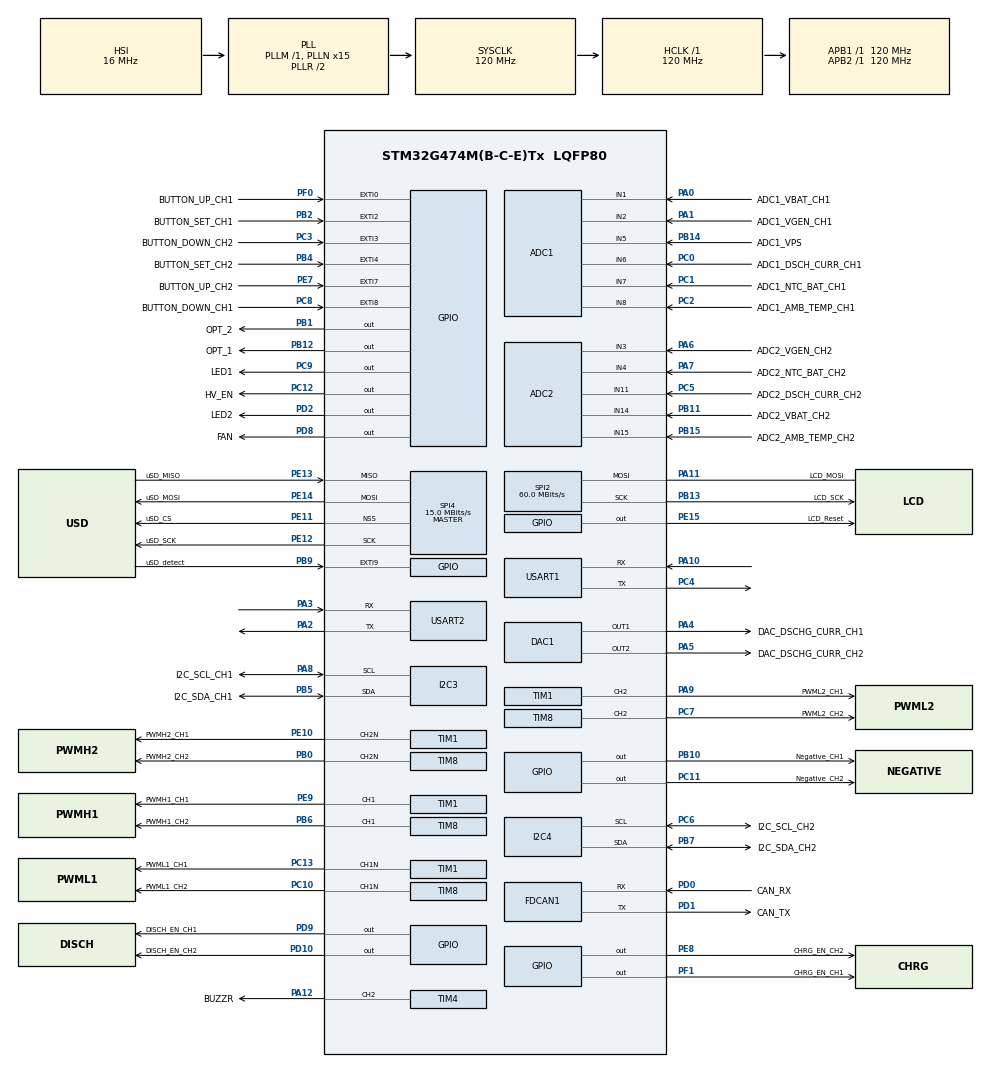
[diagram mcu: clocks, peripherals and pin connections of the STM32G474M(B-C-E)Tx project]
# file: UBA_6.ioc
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ADC1.Channel-10\#ChannelRegularConversion=ADC_CHANNEL_1
ADC1.Channel-11\#ChannelRegularConversion=ADC_CHANNEL_2
ADC1.Channel-12\#ChannelRegularConversion=ADC_CHANNEL_8
ADC1.Channel-13\#ChannelRegularConversion=ADC_CHANNEL_7
ADC1.Channel-14\#ChannelRegularConversion=ADC_CHANNEL_6
ADC1.Channel-15\#ChannelRegularConversion=ADC_CHANNEL_1
ADC1.Channel-16\#ChannelRegularConversion=ADC_CHANNEL_1
ADC1.ClockPrescaler=ADC_CLOCK_SYNC_PCLK_DIV4
ADC1.ContinuousConvMode=ENABLE
ADC1.DMAContinuousRequests=DISABLE
ADC1.EOCSelection=ADC_EOC_SEQ_CONV
ADC1.EnableInjectedConversion=DISABLE
ADC1.EnableRegularConversion=ENABLE
ADC1.GainCompensation=0
ADC1.NbrOfConversion=7
ADC1.NbrOfConversionFlag=1
ADC1.OffsetNumber-10\#ChannelRegularConversion=ADC_OFFSET_NONE
ADC1.OffsetNumber-11\#ChannelRegularConversion=ADC_OFFSET_NONE
ADC1.OffsetNumber-12\#ChannelRegularConversion=ADC_OFFSET_NONE
ADC1.OffsetNumber-13\#ChannelRegularConversion=ADC_OFFSET_NONE
ADC1.OffsetNumber-14\#ChannelRegularConversion=ADC_OFFSET_NONE
ADC1.OffsetNumber-15\#ChannelRegularConversion=ADC_OFFSET_NONE
ADC1.OffsetNumber-16\#ChannelRegularConversion=ADC_OFFSET_NONE
ADC1.Overrun=ADC_OVR_DATA_OVERWRITTEN
ADC1.OversamplingMode=DISABLE
ADC1.Rank-10\#ChannelRegularConversion=1
ADC1.Rank-11\#ChannelRegularConversion=2
ADC1.Rank-12\#ChannelRegularConversion=3
ADC1.Rank-13\#ChannelRegularConversion=4
ADC1.Rank-14\#ChannelRegularConversion=5
ADC1.Rank-15\#ChannelRegularConversion=6
ADC1.Rank-16\#ChannelRegularConversion=7
ADC1.Rank1_Channel=ADC_CHANNEL_1
ADC1.SamplingTime-10\#ChannelRegularConversion=ADC_SAMPLETIME_47CYCLES_5
ADC1.SamplingTime-11\#ChannelRegularConversion=ADC_SAMPLETIME_47CYCLES_5
ADC1.SamplingTime-12\#ChannelRegularConversion=ADC_SAMPLETIME_47CYCLES_5
ADC1.SamplingTime-13\#ChannelRegularConversion=ADC_SAMPLETIME_47CYCLES_5
ADC1.SamplingTime-14\#ChannelRegularConversion=ADC_SAMPLETIME_47CYCLES_5
ADC1.SamplingTime-15\#ChannelRegularConversion=ADC_SAMPLETIME_2CYCLES_5
ADC1.SamplingTime-16\#ChannelRegularConversion=ADC_SAMPLETIME_2CYCLES_5
ADC1.master=1
ADC2.Channel-0\#ChannelRegularConversion=ADC_CHANNEL_14
ADC2.Channel-1\#ChannelRegularConversion=ADC_CHANNEL_3
ADC2.Channel-2\#ChannelRegularConversion=ADC_CHANNEL_15
ADC2.Channel-3\#ChannelRegularConversion=ADC_CHANNEL_4
ADC2.Channel-4\#ChannelRegularConversion=ADC_CHANNEL_11
ADC2.ClockPrescaler=ADC_CLOCK_SYNC_PCLK_DIV4
ADC2.ContinuousConvMode=ENABLE
ADC2.EOCSelection=ADC_EOC_SINGLE_CONV
ADC2.NbrOfConversion=5
ADC2.NbrOfConversionFlag=1
ADC2.Offset-0\#ChannelRegularConversion=100
ADC2.Offset-1\#ChannelRegularConversion=50
ADC2.OffsetNumber-0\#ChannelRegularConversion=ADC_OFFSET_1
ADC2.OffsetNumber-1\#ChannelRegularConversion=ADC_OFFSET_NONE
ADC2.OffsetNumber-2\#ChannelRegularConversion=ADC_OFFSET_NONE
ADC2.OffsetNumber-3\#ChannelRegularConversion=ADC_OFFSET_NONE
ADC2.OffsetNumber-4\#ChannelRegularConversion=ADC_OFFSET_NONE
ADC2.OffsetSign-0\#ChannelRegularConversion=ADC_OFFSET_SIGN_POSITIVE
ADC2.Overrun=ADC_OVR_DATA_OVERWRITTEN
ADC2.Rank-0\#ChannelRegularConversion=1
ADC2.Rank-1\#ChannelRegularConversion=2
ADC2.Rank-2\#ChannelRegularConversion=3
ADC2.Rank-3\#ChannelRegularConversion=4
ADC2.Rank-4\#ChannelRegularConversion=5
ADC2.SamplingTime-0\#ChannelRegularConversion=ADC_SAMPLETIME_47CYCLES_5
ADC2.SamplingTime-1\#ChannelRegularConversion=ADC_SAMPLETIME_47CYCLES_5
ADC2.SamplingTime-2\#ChannelRegularConversion=ADC_SAMPLETIME_47CYCLES_5
ADC2.SamplingTime-3\#ChannelRegularConversion=ADC_SAMPLETIME_47CYCLES_5
ADC2.SamplingTime-4\#ChannelRegularConversion=ADC_SAMPLETIME_47CYCLES_5
DAC1.DAC_Channel-DAC_OUT2=DAC_CHANNEL_2
Dma.ADC1.0.Direction=DMA_PERIPH_TO_MEMORY
Dma.ADC1.0.EventEnable=DISABLE
Dma.ADC1.0.Instance=DMA1_Channel1
Dma.ADC1.0.MemDataAlignment=DMA_MDATAALIGN_HALFWORD
Dma.ADC1.0.MemInc=DMA_MINC_ENABLE
Dma.ADC1.0.Mode=DMA_CIRCULAR
Dma.ADC1.0.PeriphDataAlignment=DMA_PDATAALIGN_HALFWORD
Dma.ADC1.0.PeriphInc=DMA_PINC_DISABLE
Dma.ADC1.0.Polarity=HAL_DMAMUX_REQ_GEN_RISING
Dma.ADC1.0.Priority=DMA_PRIORITY_LOW
Dma.ADC1.0.RequestNumber=1
Dma.ADC1.0.SignalID=NONE
Dma.ADC1.0.SyncEnable=DISABLE
Dma.ADC1.0.SyncPolarity=HAL_DMAMUX_SYNC_NO_EVENT
Dma.ADC1.0.SyncRequestNumber=1
Dma.ADC1.0.SyncSignalID=NONE
Dma.Request0=ADC1
Dma.Request1=TIM1_CH1
Dma.Request2=TIM1_CH2
Dma.TIM1_CH1.1.Direction=DMA_MEMORY_TO_PERIPH
Dma.TIM1_CH1.1.EventEnable=DISABLE
Dma.TIM1_CH1.1.Instance=DMA1_Channel2
Dma.TIM1_CH1.1.MemDataAlignment=DMA_MDATAALIGN_WORD
Dma.TIM1_CH1.1.MemInc=DMA_MINC_ENABLE
Dma.TIM1_CH1.1.Mode=DMA_CIRCULAR
Dma.TIM1_CH1.1.PeriphDataAlignment=DMA_PDATAALIGN_WORD
Dma.TIM1_CH1.1.PeriphInc=DMA_PINC_DISABLE
Dma.TIM1_CH1.1.Polarity=HAL_DMAMUX_REQ_GEN_RISING
Dma.TIM1_CH1.1.Priority=DMA_PRIORITY_HIGH
Dma.TIM1_CH1.1.RequestNumber=1
Dma.TIM1_CH1.1.SignalID=NONE
Dma.TIM1_CH1.1.SyncEnable=DISABLE
Dma.TIM1_CH1.1.SyncPolarity=HAL_DMAMUX_SYNC_NO_EVENT
Dma.TIM1_CH1.1.SyncRequestNumber=1
Dma.TIM1_CH1.1.SyncSignalID=NONE
Dma.TIM1_CH2.2.Direction=DMA_MEMORY_TO_PERIPH
Dma.TIM1_CH2.2.EventEnable=DISABLE
Dma.TIM1_CH2.2.Instance=DMA1_Channel3
Dma.TIM1_CH2.2.MemDataAlignment=DMA_MDATAALIGN_WORD
Dma.TIM1_CH2.2.MemInc=DMA_MINC_ENABLE
Dma.TIM1_CH2.2.Mode=DMA_CIRCULAR
Dma.TIM1_CH2.2.PeriphDataAlignment=DMA_PDATAALIGN_WORD
Dma.TIM1_CH2.2.PeriphInc=DMA_PINC_DISABLE
Dma.TIM1_CH2.2.Polarity=HAL_DMAMUX_REQ_GEN_RISING
Dma.TIM1_CH2.2.Priority=DMA_PRIORITY_HIGH
Dma.TIM1_CH2.2.RequestNumber=1
Dma.TIM1_CH2.2.SignalID=NONE
Dma.TIM1_CH2.2.SyncEnable=DISABLE
Dma.TIM1_CH2.2.SyncPolarity=HAL_DMAMUX_SYNC_NO_EVENT
Dma.TIM1_CH2.2.SyncRequestNumber=1
Dma.TIM1_CH2.2.SyncSignalID=NONE
FATFS._CODE_PAGE=850
FATFS._FS_NORTC=1
FATFS._FS_TINY=0
FATFS._MAX_SS=512
FATFS._MIN_SS=512
FDCAN1.CalculateBaudRateNominal=1499999
FDCAN1.CalculateTimeBitNominal=666
FDCAN1.CalculateTimeQuantumNominal=133.33333333333334
FDCAN1.NominalPrescaler=16
I2C3.Timing=0x30A175AB
I2C4.Timing=0x30A175AB
Mcu.Family=STM32G4
Mcu.Name=STM32G474M(B-C-E)Tx
Mcu.Package=LQFP80
NVIC.DMA1_Channel1_IRQn=true\:0\:0\:false\:false\:true\:false\:true\:true
NVIC.DMA1_Channel2_IRQn=true\:0\:0\:false\:false\:true\:false\:true\:true
NVIC.DMA1_Channel3_IRQn=true\:0\:0\:false\:false\:true\:false\:true\:true
NVIC.EXTI0_IRQn=true\:0\:0\:false\:false\:true\:true\:true\:true
NVIC.EXTI2_IRQn=true\:0\:0\:false\:false\:true\:true\:true\:true
NVIC.EXTI3_IRQn=true\:0\:0\:false\:false\:true\:true\:true\:true
NVIC.EXTI4_IRQn=true\:0\:0\:false\:false\:true\:true\:true\:true
NVIC.EXTI9_5_IRQn=true\:0\:0\:false\:false\:true\:true\:true\:true
NVIC.PriorityGroup=NVIC_PRIORITYGROUP_4
NVIC.TIM1_UP_TIM16_IRQn=true\:0\:0\:false\:false\:true\:true\:true\:true
PA0.GPIO_Label=ADC1_VBAT_CH1
PA0.Mode=IN1-Single-Ended
PA0.Signal=ADC1_IN1
PA1.GPIO_Label=ADC1_VGEN_CH1
PA1.Mode=IN2-Single-Ended
PA1.Signal=ADC1_IN2
PA10.Mode=Asynchronous
PA10.Signal=USART1_RX
PA11.GPIO_Label=LCD_MOSI
PA11.GPIO_Speed=GPIO_SPEED_FREQ_VERY_HIGH
PA11.Mode=Simplex_Bidirectional_Master
PA11.Signal=SPI2_MOSI
PA12.GPIO_Label=BUZZR
PA12.GPIO_Speed=GPIO_SPEED_FREQ_HIGH
PA12.Signal=S_TIM4_CH2
PA13.GPIO_Label=SWDIO
PA13.Mode=JTAG_4_pins
PA13.Signal=SYS_JTMS-SWDIO
PA14.GPIO_Label=SWCLK
PA14.Mode=JTAG_4_pins
PA14.Signal=SYS_JTCK-SWCLK
PA15.GPIO_Label=JTDI
PA15.Mode=JTAG_4_pins
PA15.Signal=SYS_JTDI
PA2.Mode=Asynchronous
PA2.Signal=USART2_TX
PA3.Mode=Asynchronous
PA3.Signal=USART2_RX
PA4.GPIO_Label=DAC_DSCHG_CURR_CH1
PA4.Signal=COMP_DAC11_group
PA5.GPIO_Label=DAC_DSCHG_CURR_CH2
PA5.Signal=COMP_DAC12_group
PA6.GPIO_Label=ADC2_VGEN_CH2
PA6.Mode=IN3-Single-Ended
PA6.Signal=ADC2_IN3
PA7.GPIO_Label=ADC2_NTC_BAT_CH2
PA7.Mode=IN4-Single-Ended
PA7.Signal=ADC2_IN4
PA8.GPIO_Label=I2C_SCL_CH1
PA8.Mode=I2C
PA8.Signal=I2C3_SCL
PA9.GPIO_Label=PWML2_CH1
PA9.Signal=S_TIM1_CH2
PB0.GPIO_Label=PWMH2_CH2
PB0.Mode=PWM Generation2 CH2 CH2N
PB0.Signal=TIM8_CH2N
PB1.GPIO_Label=OPT_2
PB1.Signal=GPIO_Output
PB10.GPIO_Label=Negative_CH1
PB10.Signal=GPIO_Output
PB11.GPIO_Label=ADC2_VBAT_CH2
PB11.Mode=IN14-Single-Ended
PB11.Signal=ADC2_IN14
PB12.GPIO_Label=OPT_1
PB12.Signal=GPIO_Output
PB13.GPIO_Label=LCD_SCK
PB13.GPIO_Speed=GPIO_SPEED_FREQ_VERY_HIGH
PB13.Mode=Simplex_Bidirectional_Master
PB13.Signal=SPI2_SCK
PB14.GPIO_Label=ADC1_VPS
PB14.Mode=IN5-Single-Ended
PB14.Signal=ADC1_IN5
PB15.GPIO_Label=ADC2_AMB_TEMP_CH2
PB15.Mode=IN15-Single-Ended
PB15.Signal=ADC2_IN15
PB2.GPIO_Label=BUTTON_SET_CH1
PB2.GPIO_ModeDefaultEXTI=GPIO_MODE_IT_RISING_FALLING
PB2.GPIO_PuPd=GPIO_PULLUP
PB2.Signal=GPXTI2
PB3.GPIO_Label=SWO
PB3.Mode=JTAG_4_pins
PB3.Signal=SYS_JTDO-SWO
PB4.GPIO_Label=BUTTON_SET_CH2
PB4.GPIO_ModeDefaultEXTI=GPIO_MODE_IT_RISING_FALLING
PB4.GPIO_PuPd=GPIO_PULLUP
PB4.Signal=GPXTI4
PB5.GPIO_Label=I2C_SDA_CH1
PB5.Mode=I2C
PB5.Signal=I2C3_SDA
PB6.GPIO_Label=PWMH1_CH2
PB6.Signal=S_TIM8_CH1
PB7.GPIO_Label=I2C_SDA_CH2
PB7.Mode=I2C
PB7.Signal=I2C4_SDA
PB9.GPIO_Label=uSD_detect
PB9.GPIO_ModeDefaultEXTI=GPIO_MODE_IT_RISING_FALLING
PB9.Signal=GPXTI9
PC0.GPIO_Label=ADC1_DSCH_CURR_CH1
PC0.Mode=IN6-Single-Ended
PC0.Signal=ADC1_IN6
PC1.GPIO_Label=ADC1_NTC_BAT_CH1
PC1.Mode=IN7-Single-Ended
PC1.Signal=ADC1_IN7
PC10.GPIO_Label=PWML1_CH2
PC10.Mode=PWM Generation1 CH1 CH1N
PC10.Signal=TIM8_CH1N
PC11.GPIO_Label=Negative_CH2
PC11.Signal=GPIO_Output
PC12.GPIO_Label=HV_EN
PC12.Signal=GPIO_Output
PC13.GPIO_Label=PWML1_CH1
PC13.Mode=PWM Generation1 CH1 CH1N
PC13.Signal=TIM1_CH1N
PC14-OSC32_IN.Mode=LSE-External-Oscillator
PC14-OSC32_IN.Signal=RCC_OSC32_IN
PC15-OSC32_OUT.Mode=LSE-External-Oscillator
PC15-OSC32_OUT.Signal=RCC_OSC32_OUT
PC2.GPIO_Label=ADC1_AMB_TEMP_CH1
PC2.Mode=IN8-Single-Ended
PC2.Signal=ADC1_IN8
PC3.GPIO_Label=BUTTON_DOWN_CH2
PC3.GPIO_ModeDefaultEXTI=GPIO_MODE_IT_RISING_FALLING
PC3.GPIO_PuPd=GPIO_PULLUP
PC3.Signal=GPXTI3
PC4.Mode=Asynchronous
PC4.Signal=USART1_TX
PC5.GPIO_Label=ADC2_DSCH_CURR_CH2
PC5.Mode=IN11-Single-Ended
PC5.Signal=ADC2_IN11
PC6.GPIO_Label=I2C_SCL_CH2
PC6.Mode=I2C
PC6.Signal=I2C4_SCL
PC7.GPIO_Label=PWML2_CH2
PC7.Signal=S_TIM8_CH2
PC8.GPIO_Label=BUTTON_DOWN_CH1
PC8.GPIO_ModeDefaultEXTI=GPIO_MODE_IT_RISING_FALLING
PC8.GPIO_PuPd=GPIO_PULLUP
PC8.Signal=GPXTI8
PC9.GPIO_Label=LED1
PC9.PinState=GPIO_PIN_SET
PC9.Signal=GPIO_Output
PD0.GPIO_Label=CAN_RX
PD0.Mode=FDCAN_Activate
PD0.Signal=FDCAN1_RX
PD1.GPIO_Label=CAN_TX
PD1.Mode=FDCAN_Activate
PD1.Signal=FDCAN1_TX
PD10.GPIO_Label=DISCH_EN_CH2
PD10.Signal=GPIO_Output
PD2.GPIO_Label=LED2
PD2.GPIO_Speed=GPIO_SPEED_FREQ_VERY_HIGH
PD2.PinState=GPIO_PIN_RESET
PD2.Signal=GPIO_Output
PD8.GPIO_Label=FAN
PD8.Signal=GPIO_Output
PD9.GPIO_Label=DISCH_EN_CH1
PD9.Signal=GPIO_Output
PE10.GPIO_Label=PWMH2_CH1
PE10.Mode=PWM Generation2 CH2 CH2N
PE10.Signal=TIM1_CH2N
PE11.GPIO_Label=uSD_CS
PE11.GPIO_PuPd=GPIO_NOPULL
PE11.GPIO_Speed=GPIO_SPEED_FREQ_HIGH
PE11.Mode=NSS_Signal_Hard_Output
PE11.Signal=SPI4_NSS
PE12.GPIO_Label=uSD_SCK
PE12.GPIO_Speed=GPIO_SPEED_FREQ_VERY_HIGH
PE12.Mode=Full_Duplex_Master
PE12.Signal=SPI4_SCK
PE13.GPIO_Label=uSD_MISO
PE13.GPIO_Speed=GPIO_SPEED_FREQ_VERY_HIGH
PE13.Mode=Full_Duplex_Master
PE13.Signal=SPI4_MISO
PE14.GPIO_Label=uSD_MOSI
PE14.GPIO_Speed=GPIO_SPEED_FREQ_VERY_HIGH
PE14.Mode=Full_Duplex_Master
PE14.Signal=SPI4_MOSI
PE15.GPIO_Label=LCD_Reset
PE15.GPIO_Speed=GPIO_SPEED_FREQ_VERY_HIGH
PE15.Signal=GPIO_Output
PE7.GPIO_Label=BUTTON_UP_CH2
PE7.GPIO_ModeDefaultEXTI=GPIO_MODE_IT_RISING_FALLING
PE7.GPIO_PuPd=GPIO_PULLUP
PE7.Signal=GPXTI7
PE8.GPIO_Label=CHRG_EN_CH2
PE8.Signal=GPIO_Output
PE9.GPIO_Label=PWMH1_CH1
PE9.Signal=S_TIM1_CH1
PF0-OSC_IN.GPIO_Label=BUTTON_UP_CH1
PF0-OSC_IN.GPIO_ModeDefaultEXTI=GPIO_MODE_IT_RISING_FALLING
PF0-OSC_IN.GPIO_PuPd=GPIO_PULLUP
PF0-OSC_IN.Signal=GPXTI0
PF1-OSC_OUT.GPIO_Label=CHRG_EN_CH1
PF1-OSC_OUT.Signal=GPIO_Output
ProjectManager.HeapSize=0x200
ProjectManager.StackSize=0x400
ProjectManager.TargetToolchain=STM32CubeIDE
RCC.ADC12Freq_Value=120000000
RCC.ADC345Freq_Value=120000000
RCC.AHBFreq_Value=120000000
RCC.APB1Freq_Value=120000000
RCC.APB1TimFreq_Value=120000000
RCC.APB2Freq_Value=120000000
RCC.APB2TimFreq_Value=120000000
RCC.CortexFreq_Value=120000000
RCC.EXTERNAL_CLOCK_VALUE=12288000
RCC.HCLKFreq_Value=120000000
RCC.HSE_VALUE=8000000
RCC.HSI48_VALUE=48000000
RCC.HSI_VALUE=16000000
RCC.PLLN=15
RCC.SYSCLKFreq_VALUE=120000000
RCC.SYSCLKSource=RCC_SYSCLKSOURCE_PLLCLK
RCC.USART1CLockSelection=RCC_USART1CLKSOURCE_SYSCLK
RCC.USBFreq_Value=120000000
RCC.VCOOutputFreq_Value=240000000
SH.COMP_DAC11_group.0=DAC1_OUT1,DAC_OUT1
SH.COMP_DAC12_group.0=DAC1_OUT2,DAC_OUT2
SH.S_TIM1_CH1.0=TIM1_CH1,PWM Generation1 CH1 CH1N
SH.S_TIM1_CH2.0=TIM1_CH2,PWM Generation2 CH2 CH2N
SH.S_TIM4_CH2.0=TIM4_CH2,PWM Generation2 CH2
SH.S_TIM8_CH1.0=TIM8_CH1,PWM Generation1 CH1 CH1N
SH.S_TIM8_CH2.0=TIM8_CH2,PWM Generation2 CH2 CH2N
SPI2.BaudRatePrescaler=SPI_BAUDRATEPRESCALER_2
SPI2.CLKPhase=SPI_PHASE_2EDGE
SPI2.CLKPolarity=SPI_POLARITY_HIGH
SPI2.CalculateBaudRate=60.0 MBits/s
SPI2.DataSize=SPI_DATASIZE_8BIT
SPI2.Direction=SPI_DIRECTION_1LINE
SPI2.Mode=SPI_MODE_MASTER
SPI2.VirtualType=VM_MASTER
SPI4.BaudRatePrescaler=SPI_BAUDRATEPRESCALER_8
SPI4.CalculateBaudRate=15.0 MBits/s
SPI4.DataSize=SPI_DATASIZE_8BIT
SPI4.Direction=SPI_DIRECTION_2LINES
SPI4.Mode=SPI_MODE_MASTER
SPI4.VirtualNSS=VM_NSSHARD
SPI4.VirtualType=VM_MASTER
STMicroelectronics.X-CUBE-DISPLAY.3.0.0_IsPackSelfContextualization=true
TIM1.Channel-PWM\ Generation1\ CH1\ CH1N=TIM_CHANNEL_1
TIM1.Channel-PWM\ Generation2\ CH2\ CH2N=TIM_CHANNEL_2
TIM1.OC1Preload_PWM=DISABLE
TIM1.OC2Preload_PWM=DISABLE
TIM1.OCFastMode_PWM-PWM\ Generation1\ CH1\ CH1N=TIM_OCFAST_ENABLE
TIM1.OCFastMode_PWM-PWM\ Generation2\ CH2\ CH2N=TIM_OCFAST_ENABLE
TIM1.OCNIdleState_1=TIM_OCNIDLESTATE_SET
TIM1.OCNIdleState_2=TIM_OCNIDLESTATE_SET
TIM1.PeriodNoDither=0x3FF
TIM1.PulseNoDither_1=0x40
TIM1.PulseNoDither_2=0x120
TIM1.RepetitionCounter=64
TIM4.AutoReloadPreload=TIM_AUTORELOAD_PRELOAD_ENABLE
TIM4.Channel-PWM\ Generation2\ CH2=TIM_CHANNEL_2
TIM4.PeriodNoDither=1000
TIM4.Prescaler=160
TIM4.PulseNoDither_2=500
TIM8.Channel-PWM\ Generation1\ CH1\ CH1N=TIM_CHANNEL_1
TIM8.Channel-PWM\ Generation2\ CH2\ CH2N=TIM_CHANNEL_2
USART1.SwapParam=ADVFEATURE_SWAP_ENABLE
USART1.VirtualMode-Asynchronous=VM_ASYNC
USART2.VirtualMode-Asynchronous=VM_ASYNC
VP_ADC1_TempSens_Input.Mode=IN-TempSens
VP_FATFS_VS_Generic.Mode=User_defined
VP_RTC_VS_RTC_Activate.Mode=RTC_Enabled
VP_RTC_VS_RTC_Calendar.Mode=RTC_Calendar
VP_SYS_VS_DBSignals.Mode=DisableDeadBatterySignals
VP_TIM1_VS_ClockSourceINT.Mode=Internal
VP_TIM4_VS_ClockSourceINT.Mode=Internal
board=custom

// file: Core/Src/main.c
/* USER CODE BEGIN Header */
/**
 ******************************************************************************
 * @file           : main.c
 * @brief          : Main program body
 ******************************************************************************
 * @attention
 *
 * Copyright (c) 2024 STMicroelectronics.
 * All rights reserved.
 *
 * This software is licensed under terms that can be found in the LICENSE file
 * in the root directory of this software component.
 * If no LICENSE file comes with this software, it is provided AS-IS.
 *
 ******************************************************************************
 */
/* USER CODE END Header */
#include "main.h"
#include "adc.h"
#include "dac.h"
#include "dma.h"
#include "app_fatfs.h"
#include "fdcan.h"
#include "i2c.h"
#include "rtc.h"
#include "spi.h"
#include "tim.h"
#include "usart.h"
#include "gpio.h"

/* USER CODE BEGIN Includes */
#include "UBA_6.h"
#include "uart_log.h"
#include "IRQ_handle.h"
#include "file_logger.h"
#include "ST7789_STM32_Driver.h"
#include "LCD.h"
#include "UBA_battery_performance_test.h"
#include "UBA_line.h"
#include "UBA_channel.h"
#include "UBA_test_routine.h"
/* USER CODE END Includes */

/* USER CODE BEGIN PD */
#define UBA_COMP "MAIN"
/* USER CODE END PD */

void SystemClock_Config(void);

int main(void)
{

  /* MCU Configuration--------------------------------------------------------*/

  /* Reset of all peripherals, Initializes the Flash interface and the Systick. */
  HAL_Init();

  /* Configure the system clock */
  SystemClock_Config();

  /* Initialize all configured peripherals */
  MX_GPIO_Init();
  MX_DMA_Init();
  MX_ADC1_Init();
  MX_ADC2_Init();
  MX_DAC1_Init();
  MX_FDCAN1_Init();
  MX_I2C3_Init();
  MX_I2C4_Init();
  MX_SPI2_Init();
  MX_SPI4_Init();
  if (MX_FATFS_Init() != APP_OK) {
    Error_Handler();
  }
  MX_USART2_UART_Init();
  MX_TIM4_Init();
  MX_TIM1_Init();
  MX_USART1_UART_Init();
  MX_TIM8_Init();
  MX_RTC_Init();
  /* USER CODE BEGIN 2 */
	//HAL_TIM_PWM_Start(&htim4,TIM_CHANNEL_2);
	UART_LOG_INFO(UBA_COMP, "System Init");
	test_print();
	UBA_line_init_local_lines();

	UBA_TR_demo_init();
	//LCD_init(&UBA_LCD_g);
	file_logger_print();
	/*res = f_mount(&fs, "", 0);
	 if (res != FR_OK) {
	 // Handle error
	 UBA_6_log("Failed to mount file system: %d\n", res);
	 }*/

  /* USER CODE END 2 */

  /* Infinite loop */
  /* USER CODE BEGIN WHILE */
	while (1) {
		//HAL_WWDG_Refresh(&hwwdg);
		//UART_LOG_DEBUG("MAIN","Running");
		HAL_GPIO_TogglePin(LED1_GPIO_Port, LED1_Pin);
//		HAL_GPIO_TogglePin(LED2_GPIO_Port, LED2_Pin);

		UBA_6_run(&UBA_6_device_g);
		UBA_line_run(&UBA_LINE_A);
		UBA_line_run(&UBA_LINE_B);
		LCD_run(&UBA_LCD_g);

		//HAL_GPIO_TogglePin(BUZZR_GPIO_Port, BUZZR_Pin);
		/*if (HAL_UART_Receive(&huart1, &rxData, 1, 100) == HAL_OK) {
		 UBA_6_log("%c", rxData);
		 }else{
		 UBA_6_log("NONE");
		 }*/
    /* USER CODE END WHILE */

	}
}

void SystemClock_Config(void)
{
  RCC_OscInitTypeDef RCC_OscInitStruct = {0};
  RCC_ClkInitTypeDef RCC_ClkInitStruct = {0};

  /** Configure the main internal regulator output voltage
  */
  HAL_PWREx_ControlVoltageScaling(PWR_REGULATOR_VOLTAGE_SCALE1);

  /** Initializes the RCC Oscillators according to the specified parameters
  * in the RCC_OscInitTypeDef structure.
  */
  RCC_OscInitStruct.OscillatorType = RCC_OSCILLATORTYPE_HSI|RCC_OSCILLATORTYPE_LSI;
  RCC_OscInitStruct.HSIState = RCC_HSI_ON;
  RCC_OscInitStruct.HSICalibrationValue = RCC_HSICALIBRATION_DEFAULT;
  RCC_OscInitStruct.LSIState = RCC_LSI_ON;
  RCC_OscInitStruct.PLL.PLLState = RCC_PLL_ON;
  RCC_OscInitStruct.PLL.PLLSource = RCC_PLLSOURCE_HSI;
  RCC_OscInitStruct.PLL.PLLM = RCC_PLLM_DIV1;
  RCC_OscInitStruct.PLL.PLLN = 15;
  RCC_OscInitStruct.PLL.PLLP = RCC_PLLP_DIV2;
  RCC_OscInitStruct.PLL.PLLQ = RCC_PLLQ_DIV2;
  RCC_OscInitStruct.PLL.PLLR = RCC_PLLR_DIV2;
  if (HAL_RCC_OscConfig(&RCC_OscInitStruct) != HAL_OK)
  {
    Error_Handler();
  }

  /** Initializes the CPU, AHB and APB buses clocks
  */
  RCC_ClkInitStruct.ClockType = RCC_CLOCKTYPE_HCLK|RCC_CLOCKTYPE_SYSCLK
                              |RCC_CLOCKTYPE_PCLK1|RCC_CLOCKTYPE_PCLK2;
  RCC_ClkInitStruct.SYSCLKSource = RCC_SYSCLKSOURCE_PLLCLK;
  RCC_ClkInitStruct.AHBCLKDivider = RCC_SYSCLK_DIV1;
  RCC_ClkInitStruct.APB1CLKDivider = RCC_HCLK_DIV1;
  RCC_ClkInitStruct.APB2CLKDivider = RCC_HCLK_DIV1;

  if (HAL_RCC_ClockConfig(&RCC_ClkInitStruct, FLASH_LATENCY_3) != HAL_OK)
  {
    Error_Handler();
  }
}

void Error_Handler(void)
{
  /* USER CODE BEGIN Error_Handler_Debug */
	uart_printf("Error_Handler ");
	/* User can add his own implementation to report the HAL error return state */
	__disable_irq();
	while (1) {
	}
  /* USER CODE END Error_Handler_Debug */
}
